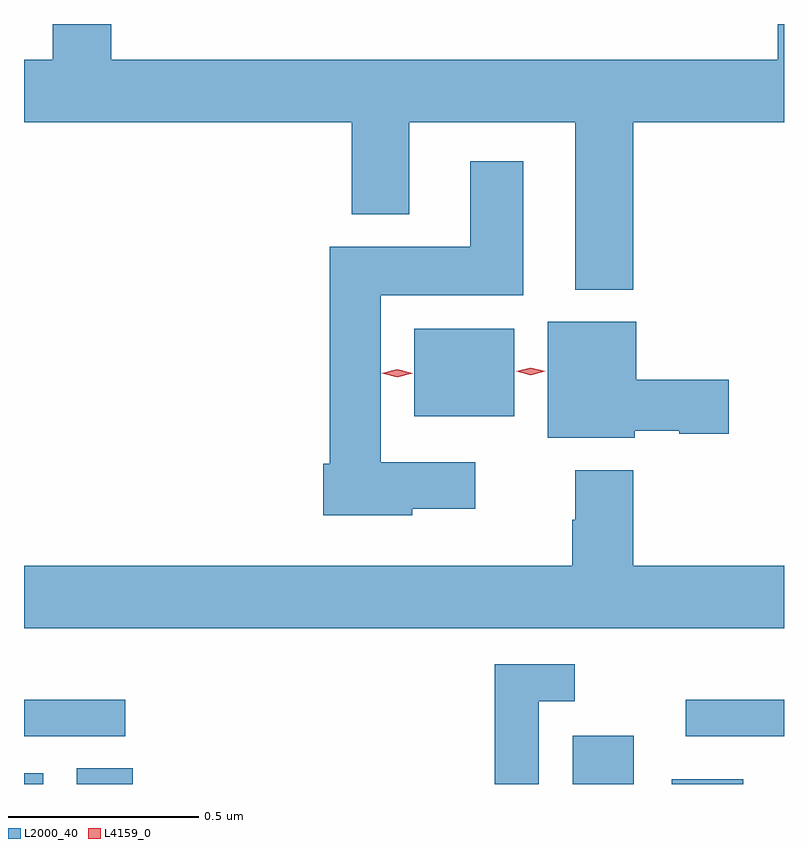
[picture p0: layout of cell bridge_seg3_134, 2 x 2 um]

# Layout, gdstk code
import gdstk
lib = gdstk.Library(unit=1e-6, precision=1e-09)
def R(c, l, rs):  # rectangles x0, y0, x1, y1
    for r in rs: c.add(gdstk.rectangle(r[:2], r[2:], *l))
def P(c, l, *ps):  # polygons
    for p in ps: c.add(gdstk.Polygon(p, *l))
L2000_40 = (2000, 40)
L4159_0 = (4159, 0)

bridge_seg3_134 = lib.new_cell('bridge_seg3_134')
R(bridge_seg3_134, L2000_40, [(361.681,667.206,361.732,667.234), (361.82,667.206,361.967,667.247), (363.125,667.206,363.286,667.333), (363.386,667.206,363.574,667.219), (361.681,667.332,361.948,667.428), (363.423,667.332,363.681,667.428), (362.708,668.174,362.971,668.404)])
P(bridge_seg3_134, L2000_40, [(363.284,668.948),(363.681,668.948),(363.681,669.206),(363.665,669.206),(363.665,669.112),(361.91,669.112),(361.91,669.206),(361.757,669.206),(361.757,669.112),(361.681,669.112),(361.681,668.948),(362.543,668.948),(362.543,668.705),(362.695,668.705),(362.695,668.948),(363.131,668.948),(363.131,668.507),(363.284,668.507)],
  [(362.703,667.931),(362.869,667.931),(362.869,668.053),(362.62,668.053),(362.62,668.492),(362.995,668.492),(362.995,668.845),(362.855,668.845),(362.855,668.62),(362.486,668.62),(362.486,668.049),(362.468,668.049),(362.468,667.913),(362.703,667.913)],
  [(363.288,668.135),(363.405,668.135),(363.405,668.128),(363.535,668.128),(363.535,668.27),(363.292,668.27),(363.292,668.422),(363.059,668.422),(363.059,668.117),(363.288,668.117)],
  [(363.681,667.78),(363.284,667.78),(363.284,668.032),(363.131,668.032),(363.131,667.901),(363.124,667.901),(363.124,667.78),(361.681,667.78),(361.681,667.616),(363.681,667.616)],
  [(363.036,667.424),(363.13,667.424),(363.13,667.521),(362.92,667.521),(362.92,667.206),(363.036,667.206)])
P(bridge_seg3_134, L4159_0, [(363.014,668.282),(362.976,668.292),(362.976,668.292),(362.976,668.292),(363.014,668.302),(363.053,668.292),(363.053,668.292),(363.053,668.292)],
  [(362.663,668.277),(362.623,668.287),(362.623,668.287),(362.623,668.287),(362.663,668.297),(362.704,668.287),(362.704,668.287),(362.704,668.287)])

lib.write_gds('bridge_seg3_134.gds')
